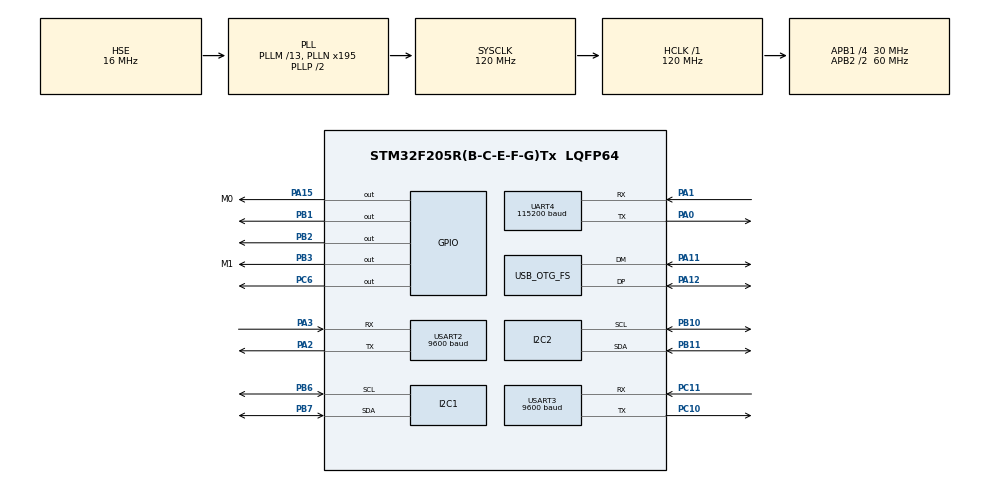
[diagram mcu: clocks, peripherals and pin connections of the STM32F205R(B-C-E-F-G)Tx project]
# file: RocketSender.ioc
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Dma.Request0=UART4_RX
Dma.UART4_RX.0.Direction=DMA_PERIPH_TO_MEMORY
Dma.UART4_RX.0.FIFOMode=DMA_FIFOMODE_DISABLE
Dma.UART4_RX.0.Instance=DMA1_Stream2
Dma.UART4_RX.0.MemDataAlignment=DMA_MDATAALIGN_BYTE
Dma.UART4_RX.0.MemInc=DMA_MINC_ENABLE
Dma.UART4_RX.0.Mode=DMA_NORMAL
Dma.UART4_RX.0.PeriphDataAlignment=DMA_PDATAALIGN_BYTE
Dma.UART4_RX.0.PeriphInc=DMA_PINC_DISABLE
Dma.UART4_RX.0.Priority=DMA_PRIORITY_HIGH
FREERTOS.Tasks01=defaultTask,24,128,StartDefaultTask,Default,NULL,Dynamic,NULL,NULL
FREERTOS.configUSE_NEWLIB_REENTRANT=1
I2C1.I2C_Mode=I2C_Fast
Mcu.Family=STM32F2
Mcu.Name=STM32F205R(B-C-E-F-G)Tx
Mcu.Package=LQFP64
NVIC.DMA1_Stream2_IRQn=true\:5\:0\:false\:false\:true\:true\:false\:true\:true
NVIC.OTG_FS_IRQn=true\:5\:0\:false\:false\:true\:true\:false\:true\:true
NVIC.PriorityGroup=NVIC_PRIORITYGROUP_4
NVIC.TIM7_IRQn=true\:15\:0\:false\:false\:true\:false\:false\:true\:true
NVIC.TimeBase=TIM7_IRQn
NVIC.TimeBaseIP=TIM7
NVIC.UART4_IRQn=true\:5\:0\:false\:false\:true\:true\:true\:true\:true
NVIC.USART2_IRQn=true\:5\:0\:true\:false\:true\:true\:true\:true\:true
PA0-WKUP.Mode=Asynchronous
PA0-WKUP.Signal=UART4_TX
PA1.Mode=Asynchronous
PA1.Signal=UART4_RX
PA11.Mode=Device_Only
PA11.Signal=USB_OTG_FS_DM
PA12.Mode=Device_Only
PA12.Signal=USB_OTG_FS_DP
PA13.Mode=Serial_Wire
PA13.Signal=SYS_JTMS-SWDIO
PA14.Mode=Serial_Wire
PA14.Signal=SYS_JTCK-SWCLK
PA15.GPIO_Label=M0
PA15.Signal=GPIO_Output
PA2.Mode=Asynchronous
PA2.Signal=USART2_TX
PA3.Mode=Asynchronous
PA3.Signal=USART2_RX
PB1.Signal=GPIO_Output
PB10.Mode=I2C
PB10.Signal=I2C2_SCL
PB11.Mode=I2C
PB11.Signal=I2C2_SDA
PB2.Signal=GPIO_Output
PB3.GPIO_Label=M1
PB3.Signal=GPIO_Output
PB6.Mode=I2C
PB6.Signal=I2C1_SCL
PB7.Mode=I2C
PB7.Signal=I2C1_SDA
PC10.Mode=Asynchronous
PC10.Signal=USART3_TX
PC11.Mode=Asynchronous
PC11.Signal=USART3_RX
PC6.Signal=GPIO_Output
PH0-OSC_IN.Mode=HSE-External-Oscillator
PH0-OSC_IN.Signal=RCC_OSC_IN
PH1-OSC_OUT.Mode=HSE-External-Oscillator
PH1-OSC_OUT.Signal=RCC_OSC_OUT
ProjectManager.HeapSize=0x200
ProjectManager.StackSize=0x400
ProjectManager.TargetToolchain=STM32CubeIDE
RCC.48MHZClocksFreq_Value=48000000
RCC.AHBFreq_Value=120000000
RCC.APB1CLKDivider=RCC_HCLK_DIV4
RCC.APB1Freq_Value=30000000
RCC.APB1TimFreq_Value=60000000
RCC.APB2CLKDivider=RCC_HCLK_DIV2
RCC.APB2Freq_Value=60000000
RCC.APB2TimFreq_Value=120000000
RCC.CortexFreq_Value=120000000
RCC.HCLKFreq_Value=120000000
RCC.HSE_VALUE=16000000
RCC.HSI_VALUE=16000000
RCC.LSE_VALUE=32768
RCC.PLLM=13
RCC.PLLN=195
RCC.PLLQ=5
RCC.PLLSourceVirtual=RCC_PLLSOURCE_HSE
RCC.SYSCLKFreq_VALUE=120000000
RCC.SYSCLKSource=RCC_SYSCLKSOURCE_PLLCLK
RCC.VCOOutputFreq_Value=240000000
TIM2.Prescaler=59
UART4.BaudRate=115200
UART4.VirtualMode=Asynchronous
USART2.BaudRate=9600
USART2.VirtualMode=VM_ASYNC
USART3.BaudRate=9600
USART3.VirtualMode=VM_ASYNC
USB_DEVICE.CLASS_NAME_FS=CDC
USB_DEVICE.VirtualMode-CDC_FS=Cdc
USB_DEVICE.VirtualModeFS=Cdc_FS
USB_OTG_FS.VirtualMode=Device_Only
VP_FREERTOS_VS_CMSIS_V2.Mode=CMSIS_V2
VP_SYS_VS_tim7.Mode=TIM7
VP_TIM2_VS_ClockSourceINT.Mode=Internal
VP_USB_DEVICE_VS_USB_DEVICE_CDC_FS.Mode=CDC_FS
board=custom

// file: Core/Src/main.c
/* USER CODE BEGIN Header */
/**

@file           : main.c

@brief          : Main program body

@attention

Copyright (c) 2025 STMicroelectronics.

All rights reserved.

This software is licensed under terms that can be found in the LICENSE file

in the root directory of this software component.

If no LICENSE file comes with this software, it is provided AS-IS.

*/
/* USER CODE END Header */
#include "main.h"
#include "cmsis_os.h"
#include "usb_device.h"

/* USER CODE BEGIN Includes */

#include "usbd_cdc_if.h"
#include "pressure/pressure.h"
#include "gps/gps.h"
#include "icm/imu.h"
#include "math.h"
#include "stdbool.h"
#include "FreeRTOS.h"
#include "cmsis_os.h"
#include "task.h"
#include "semphr.h"

/* USER CODE END Includes */

/* USER CODE BEGIN PTD */
// Sensor data variables
/* USER CODE END PTD */

I2C_HandleTypeDef hi2c1;
I2C_HandleTypeDef hi2c2;

TIM_HandleTypeDef htim2;

UART_HandleTypeDef huart4;
UART_HandleTypeDef huart2;
UART_HandleTypeDef huart3;
DMA_HandleTypeDef hdma_uart4_rx;

/* Definitions for defaultTask */
/*osThreadId_t defaultTaskHandle;
const osThreadAttr_t defaultTask_attributes = {
  .name = "defaultTask",
  .stack_size = 128 * 4,
  .priority = (osPriority_t) osPriorityNormal,
};*/
/* USER CODE BEGIN PV */

#define TELEMETRY_PACKET_SIZE       48 // Toplam 41 bayt oldu
#define TELEMETRY_PAYLOAD_LENGTH    46 // Checksum hariç, header ve tüm veriler (0'dan 37. indekse kadar)
#define SENSOR_TASK_PERIOD_MS_80HZ 12
#define SENSOR_TASK_PERIOD_MS_10HZ 100
#define TELEMETRY_INTERVAL_MS 500

#define FIFO_SIZE 10          // Pencere boyutu, kaç ölçüm saklanacağı

/* USER CODE END PV */

void SystemClock_Config(void);
static void MX_GPIO_Init(void);
static void MX_DMA_Init(void);
static void MX_I2C1_Init(void);
static void MX_I2C2_Init(void);
static void MX_USART2_UART_Init(void);
static void MX_TIM2_Init(void);
static void MX_USART3_UART_Init(void);
static void MX_UART4_Init(void);
void StartDefaultTask(void *argument);

/* USER CODE BEGIN PFP */
void ProcessReceivedPacket(uint8_t* data, uint8_t length, uint8_t packet_type);
typedef struct {
    uint8_t bytes[4];
} FloatBytes_t;

uint8_t gps_rx_data;
char gps_buffer[512];
uint16_t gps_index = 0;
struct GpsData gps_data;
uint16_t received_data_len;

uint8_t huart4_rx_dma_buffer[UART_RX_DMA_BUFFER_SIZE];

typedef struct {
  float altitude;
  unsigned long timestamp_ms;
} DataPoint;
const float gravity = 9.80665;

TaskHandle_t sensorTaskHandle;
TaskHandle_t loraTaskHandle;
SemaphoreHandle_t sensorSemaphore;
SemaphoreHandle_t sutDataReadySemaphore;

// FreeRTOS nesnelerinin handle'larını bir arada tutan yapı (sadece organizasyon için).

volatile FlightData_t g_flightData = {
		.flight_state = ON_GROUND,
		.stateData_h = 0,
		.stateData_l = 0,
		.vertical_velocity = 0.0f,
		.isDelayed = false,
};

// 2. SİSTEM KONTROL FLAG'LERİ
SystemControl_t g_systemControl = {
		.ukb_mode = NORMAL,
};

/* USER CODE END PTD */
/* Private define ------------------------------------------------------------*/
/* USER CODE BEGIN PD */
/* USER CODE END PFP */

/* USER CODE BEGIN 0 */

void addToFifo(float new_altitude, DataPoint altitude_fifo[], int *buffer_index, bool *is_buffer_full) {
  // Yeni veri noktasını oluştur
  altitude_fifo[*buffer_index].altitude = new_altitude;
  altitude_fifo[*buffer_index].timestamp_ms = HAL_GetTick(); // STM32'de geçen zamanı al

  // İndeksi bir sonraki pozisyona taşı
  (*buffer_index)++;

  // Buffer doldu mu kontrol et ve indeksi sıfırla
  if ((*buffer_index) >= FIFO_SIZE) {
    (*buffer_index) = 0;
    *is_buffer_full = true; // Buffer ilk kez doldu, artık hesaplama yapabiliriz.
  }
}

float calculate_velocity_from_fifo(DataPoint altitude_fifo[]) {
  // Hesaplamalar için değişkenler
  double sum_x = 0, sum_y = 0, sum_xy = 0, sum_x2 = 0;

  // Referans noktası olarak ilk zaman damgasını alalım ki sayılar çok büyümesin
  double t0 = altitude_fifo[0].timestamp_ms / 1000.0; // Saniye cinsinden

  for (int i = 0; i < FIFO_SIZE; ++i) {
    double x = (altitude_fifo[i].timestamp_ms / 1000.0) - t0; // Geçen saniye
    double y = altitude_fifo[i].altitude;

    sum_x += x;
    sum_y += y;
    sum_xy += x * y;
    sum_x2 += x * x;
  }

  // Eğim (hız) formülünü uygula
  double N = FIFO_SIZE;
  double numerator = (N * sum_xy) - (sum_x * sum_y);
  double denominator = (N * sum_x2) - (sum_x * sum_x);

  // Sıfıra bölünmeyi engelle
  if (denominator == 0) {
    return 0.0f;
  }

  return (float)(numerator / denominator); // m/s cinsinden hız
}

void send_usb_message(const char* message) {
if (message != NULL) {
CDC_Transmit_FS((uint8_t*)message, strlen(message));
}}

uint8_t calculate_checksum_8bit(const uint8_t *data_buffer, uint16_t length) {
    uint8_t checksum = 0;

    for (uint16_t i = 0; i < length; i++) {
        checksum += data_buffer[i];
    }

    return checksum;
}

FloatBytes_t convert_float_to_big_endian_bytes_return(float float_value) {
    union {
        float f;
        uint8_t b[4];
    } u;

    FloatBytes_t result;

    u.f = float_value;
    result.bytes[0] = u.b[3];
    result.bytes[1] = u.b[2];
    result.bytes[2] = u.b[1];
    result.bytes[3] = u.b[0];

    return result;
}
void convert_int16_to_big_endian_bytes(int16_t value, uint8_t *output_buffer) {
    if (output_buffer == NULL) {
        return;
    }

    output_buffer[0] = (uint8_t)(value >> 8);

    output_buffer[1] = (uint8_t)(value & 0xFF);
}

void convert_int32_to_big_endian_bytes(int32_t value, uint8_t *output_buffer) {
    // MSB
    output_buffer[0] = (uint8_t)((value >> 24) & 0xFF);
    output_buffer[1] = (uint8_t)((value >> 16) & 0xFF);
    output_buffer[2] = (uint8_t)((value >> 8) & 0xFF);
    // LSB
    output_buffer[3] = (uint8_t)(value & 0xFF);
}
void create_telemetry_packet_no_id(
    uint8_t *packet_buffer,
    float accel_x_g, float accel_y_g, float accel_z_g,float gyro_x, float gyro_y, float gyro_z,
    float quat_w, float quat_x, float quat_y, float quat_z,
    double gps_latitude_deg, double gps_longitude_deg, float gps_altitude_m,
	float altitude,
    int16_t surface_angle,
    uint8_t status_value
) {
    if (packet_buffer == NULL) {
        return; // Geçersiz tampon
    }

    uint16_t current_index = 0;
    FloatBytes_t float_bytes; // Float dönüşümü için geçici yapı
    uint8_t scaled_bytes[4]; // int16 veya int32 için geçici dizi

    // 0. Başlangıç Baytı (Header)
    packet_buffer[current_index++] = 0xAA;

    // 1. İvme X, Y, Z (G cinsinden, int16_t olarak skalalı)
    convert_int16_to_big_endian_bytes((int16_t)(accel_x_g * 100.0f), scaled_bytes);
    memcpy(&packet_buffer[current_index], scaled_bytes, 2);
    current_index += 2;

    convert_int16_to_big_endian_bytes((int16_t)(accel_y_g * 100.0f), scaled_bytes);
    memcpy(&packet_buffer[current_index], scaled_bytes, 2);
    current_index += 2;

    convert_int16_to_big_endian_bytes((int16_t)(accel_z_g * 100.0f), scaled_bytes);
    memcpy(&packet_buffer[current_index], scaled_bytes, 2);
    current_index += 2;

    convert_int16_to_big_endian_bytes((int16_t)(gyro_x * 100.0f), scaled_bytes);
    memcpy(&packet_buffer[current_index], scaled_bytes, 2);
    current_index += 2;

    convert_int16_to_big_endian_bytes((int16_t)(gyro_y * 100.0f), scaled_bytes);
    memcpy(&packet_buffer[current_index], scaled_bytes, 2);
    current_index += 2;

    convert_int16_to_big_endian_bytes((int16_t)(gyro_z * 100.0f), scaled_bytes);
    memcpy(&packet_buffer[current_index], scaled_bytes, 2);
    current_index += 2;

    // 2. Quaternion W, X, Y, Z (float olarak kalır)
    float_bytes = convert_float_to_big_endian_bytes_return(quat_w);
    memcpy(&packet_buffer[current_index], float_bytes.bytes, 4);
    current_index += 4;

    float_bytes = convert_float_to_big_endian_bytes_return(quat_x);
    memcpy(&packet_buffer[current_index], float_bytes.bytes, 4);
    current_index += 4;

    float_bytes = convert_float_to_big_endian_bytes_return(quat_y);
    memcpy(&packet_buffer[current_index], float_bytes.bytes, 4);
    current_index += 4;

    float_bytes = convert_float_to_big_endian_bytes_return(quat_z);
    memcpy(&packet_buffer[current_index], float_bytes.bytes, 4);
    current_index += 4;

    // 3. GPS Enlem (int32_t olarak skalalı)
    convert_int32_to_big_endian_bytes((int32_t)(gps_latitude_deg * 1000000.0), scaled_bytes);
    memcpy(&packet_buffer[current_index], scaled_bytes, 4);
    current_index += 4;

    // 4. GPS Boylam (int32_t olarak skalalı)
    convert_int32_to_big_endian_bytes((int32_t)(gps_longitude_deg * 1000000.0), scaled_bytes);
    memcpy(&packet_buffer[current_index], scaled_bytes, 4);
    current_index += 4;

    // 5. GPS Yükseklik (int32_t olarak skalalı, 0.01m hassasiyet)
    convert_int32_to_big_endian_bytes((int32_t)(gps_altitude_m * 100.0f), scaled_bytes);
    memcpy(&packet_buffer[current_index], scaled_bytes, 4);
    current_index += 4;

    convert_int16_to_big_endian_bytes(altitude * 100.0f, scaled_bytes);
    memcpy(&packet_buffer[current_index], scaled_bytes, 2);
    current_index += 2;

    // 6. Yüzey Açısı (int16_t)
    convert_int16_to_big_endian_bytes(surface_angle, scaled_bytes);
    memcpy(&packet_buffer[current_index], scaled_bytes, 2);
    current_index += 2;

    // 7. Durum Değeri (uint8_t)
    packet_buffer[current_index++] = status_value;

    // 8. Checksum Hesaplama ve Ekleme
    // Checksum, başlangıç baytından durum değerine kadar olan TÜM veriyi kapsar.
    uint8_t calculated_checksum = calculate_checksum_8bit(packet_buffer, TELEMETRY_PAYLOAD_LENGTH);
    packet_buffer[current_index++] = calculated_checksum;

    // 9. Footer Değerleri
    packet_buffer[current_index++] = 0x0A; // LF (Line Feed)

    // current_index artık 41 olmalı (TELEMETRY_PACKET_SIZE)
}

void set_bit_u8(uint8_t *value_ptr, uint8_t bit_position) {
    if (value_ptr == NULL) {
        return;
    }
    if (bit_position < 8) {
        *value_ptr |= (1 << bit_position);
    }
}

float convert_big_endian_float(uint8_t *data) {
    union {
        float f;
        uint8_t b[4];
    } u;

    u.b[0] = data[3];
    u.b[1] = data[2];
    u.b[2] = data[1];
    u.b[3] = data[0];

    return u.f;
}

void reset_state()
{
    memset((void*)&g_flightData, 0, sizeof(FlightData_t));
    g_flightData.flight_state = ON_GROUND;
    g_flightData.takeoff_time = 0;
    g_flightData.vertical_velocity = 0.0f;
    g_flightData.stateData_h = 0;
    g_flightData.stateData_l = 0;
    median_filter_reset();
    kalman_filter_reset();
    kalman_filter_euler_reset();
}

void sensorTask(void *pvParameters)
{

  TickType_t xLastWakeTime = xTaskGetTickCount();
  TickType_t xFrequency = pdMS_TO_TICKS(SENSOR_TASK_PERIOD_MS_80HZ);

  static enum UKB_MODE previous_mode;
  previous_mode = g_systemControl.ukb_mode; // Başlangıç değerini ata

  static DataPoint altitude_fifo[FIFO_SIZE];

  static int apogee_confirmation_counter = 0;
  uint8_t local_dma_buffer[UART_RX_DMA_BUFFER_SIZE];
  static uint8_t statePacket[6];
  static uint8_t sit_data[36] = {0xAB};
  static float priv_alt = 0;
  static float priv_press = 0;
  static float min_pressure_pa = 200000.0f;
  static int cooldown = 9000;
  static int sut_conf = 0;

  for (;;)
  {

	  vTaskDelayUntil(&xLastWakeTime, xFrequency);

	  // Frekansı ayarla
	  if (g_systemControl.ukb_mode == SIT || g_systemControl.ukb_mode == SUT) {
		  xFrequency = pdMS_TO_TICKS(SENSOR_TASK_PERIOD_MS_10HZ);
	  } else if (g_systemControl.ukb_mode == NORMAL ){ // NORMAL mod
		  xFrequency = pdMS_TO_TICKS(SENSOR_TASK_PERIOD_MS_80HZ);
	  }

    FlightData_t local_data;
	taskENTER_CRITICAL();
	local_data = g_flightData;
    memcpy(local_dma_buffer, huart4_rx_dma_buffer, UART_RX_DMA_BUFFER_SIZE);
	taskEXIT_CRITICAL();

	if (g_systemControl.i2c_ok) {
       if(g_systemControl.ukb_mode != SUT){
    	   ICM42670P_ReadAccelGyroData(&local_data.imu_data);
    	   imu_get_sensor_data(&local_data.imu_data);

       }
       if(g_systemControl.ukb_mode == SUT && received_data_len == 36){
    	   local_data.imu_data.ax = convert_big_endian_float(&local_dma_buffer[17] ) / gravity;
    	   local_data.imu_data.ay = convert_big_endian_float(&local_dma_buffer[13]) / gravity;
    	   local_data.imu_data.az = convert_big_endian_float(&local_dma_buffer[9]) / gravity;
    	   apply_filter_euler(convert_big_endian_float(&local_dma_buffer[25]), convert_big_endian_float(&local_dma_buffer[21]), convert_big_endian_float(&local_dma_buffer[29]), &local_data.imu_data);
       }
	}
    if(g_systemControl.ukb_mode != SUT){
    	bmp390_get_sensor_data(&local_data.pressure_data);
    	bmp390_process_data(&local_data.pressure_data);

    }
    if(g_systemControl.ukb_mode == SUT && received_data_len == 36){
    	local_data.pressure_data.altitude = convert_big_endian_float(&local_dma_buffer[1]);
    }

	if(local_data.flight_state == ON_GROUND){
		if(g_systemControl.ukb_mode == SUT){
			if(local_data.imu_data.ax > 4){
				set_bit_u8(&local_data.stateData_l, 0);
				local_data.flight_state = PROTECTED_FLIGHT;
				local_data.takeoff_time = HAL_GetTick();
			}
		}else{
			if(local_data.pressure_data.pressure < local_data.pressure_data.press_calb - 200.0f){
				local_data.flight_state = PROTECTED_FLIGHT;
				local_data.takeoff_time = HAL_GetTick();
			}
		}
	}

	if(g_systemControl.ukb_mode == NORMAL){
		cooldown = 9000;
	}else{
		cooldown = 4000;
	}
	if(local_data.flight_state == PROTECTED_FLIGHT && HAL_GetTick() - local_data.takeoff_time > cooldown){
		set_bit_u8(&local_data.stateData_l, 1);
		if(g_systemControl.ukb_mode == NORMAL){
			local_data.flight_state = FREE_FLIGHT;
		}else{
			local_data.flight_state = ALTITUDE_PROTECTED_FLIGHT;
		}
	}

	if(local_data.flight_state == ALTITUDE_PROTECTED_FLIGHT && local_data.pressure_data.altitude > 950){
		set_bit_u8(&local_data.stateData_l, 2);//TEST DEVICE FLAGS

		local_data.flight_state = FREE_FLIGHT;
	}

	if(local_data.flight_state == FREE_FLIGHT){
		if(g_systemControl.ukb_mode == SUT){
			if(local_data.imu_data.angle_ground_normal_pr > 30){
				set_bit_u8(&local_data.stateData_l, 3);
				local_data.flight_state = APOGEE;
			}
		}else{
			local_data.flight_state = APOGEE;
		}
	}

	if(local_data.flight_state == APOGEE  && local_data.flight_state != TRIGGER){
	    local_data.vertical_velocity = calculate_velocity_from_fifo(altitude_fifo);
	    if(g_systemControl.ukb_mode == SUT){
	    	if(local_data.pressure_data.altitude < (priv_alt - 2)){
	    		sut_conf++;
	    	}else{
	    		sut_conf = 0;
	    	}

	    	if(sut_conf > 3){
	    		set_bit_u8(&local_data.stateData_l, 4);//TEST DEVICE FLAGS
				set_bit_u8(&local_data.stateData_l, 7);//TEST DEVICE FLAGS
				HAL_GPIO_TogglePin(LED_34BYTE_GPIO_Port, LED_34BYTE_Pin);
				HAL_GPIO_WritePin(GPIOC, GPIO_PIN_6, GPIO_PIN_SET);
				local_data.flight_state = TRIGGER;
	    	}

	    	priv_alt = local_data.pressure_data.altitude;
	    }else{
	    	if (local_data.pressure_data.pressure < min_pressure_pa) {
	    	    min_pressure_pa = local_data.pressure_data.pressure;
	    	    apogee_confirmation_counter = 0;
	    	}

	    	if(local_data.pressure_data.pressure > min_pressure_pa + 60.0f){
				apogee_confirmation_counter++;
			}else{
				apogee_confirmation_counter = 0;
			}

			if (apogee_confirmation_counter >= 40) {
				set_bit_u8(&local_data.stateData_l, 4);//TEST DEVICE FLAGS
				set_bit_u8(&local_data.stateData_l, 7);//TEST DEVICE FLAGS
				HAL_GPIO_TogglePin(LED_34BYTE_GPIO_Port, LED_34BYTE_Pin);
				HAL_GPIO_WritePin(GPIOC, GPIO_PIN_6, GPIO_PIN_SET);
				local_data.flight_state = TRIGGER;
			}
	    }

	}

	if(g_systemControl.ukb_mode == SUT){
		statePacket[0] = 0xAA;
		statePacket[1] = local_data.stateData_l;
		statePacket[2] = local_data.stateData_h;
		statePacket[3] = calculate_checksum_8bit(statePacket, 3);
		statePacket[4] = 0x0D;
		statePacket[5] = 0x0A;
		HAL_UART_Transmit(&huart4, statePacket, sizeof(statePacket), HAL_MAX_DELAY);

	}

	if(local_data.isDelayed){
	    vTaskDelay(pdMS_TO_TICKS(1000));
	    local_data.isDelayed = false;
	}
	if(g_systemControl.ukb_mode == SIT){
		memcpy(&sit_data[1], (convert_float_to_big_endian_bytes_return(local_data.pressure_data.altitude_sea).bytes) , 4);
		memcpy(&sit_data[5], (convert_float_to_big_endian_bytes_return(local_data.pressure_data.pressure / 100).bytes) , 4);
		memcpy(&sit_data[9],  (convert_float_to_big_endian_bytes_return(local_data.imu_data.ax * gravity).bytes) , 4);
		memcpy(&sit_data[13],  (convert_float_to_big_endian_bytes_return(local_data.imu_data.ay * gravity).bytes) , 4);
		memcpy(&sit_data[17],  (convert_float_to_big_endian_bytes_return(local_data.imu_data.az * gravity).bytes) , 4);
		memcpy(&sit_data[21],  (convert_float_to_big_endian_bytes_return(local_data.imu_data.pitch_filtered).bytes) , 4);
		memcpy(&sit_data[25],  (convert_float_to_big_endian_bytes_return(local_data.imu_data.roll_filtered).bytes) , 4);
		memcpy(&sit_data[29],  (convert_float_to_big_endian_bytes_return(local_data.imu_data.yaw_filtered).bytes) , 4);
		sit_data[33] = calculate_checksum_8bit(sit_data, 33);
		sit_data[34] = 0x0D;
		sit_data[35] = 0x0A;

		HAL_UART_Transmit(&huart4, sit_data, sizeof(sit_data), 100);
	}
	taskENTER_CRITICAL();
	g_flightData = local_data;
	taskEXIT_CRITICAL();

  }
}

void loraTask(void *pvParameters)
{

    static uint8_t LoraBuffer[TELEMETRY_PACKET_SIZE];

    TickType_t xLastWakeTime = xTaskGetTickCount();
    const TickType_t xFrequency = pdMS_TO_TICKS(TELEMETRY_INTERVAL_MS); // 500ms

    for (;;)
    {
        vTaskDelayUntil(&xLastWakeTime, xFrequency);

        FlightData_t data_to_send;

        taskENTER_CRITICAL();
        data_to_send = g_flightData;
        taskEXIT_CRITICAL();

        if (g_systemControl.ukb_mode == NORMAL)
        {

            create_telemetry_packet_no_id(
                LoraBuffer,
                data_to_send.imu_data.ax,
                data_to_send.imu_data.ay,
                data_to_send.imu_data.az,
                data_to_send.imu_data.gx,
                data_to_send.imu_data.gy,
                data_to_send.imu_data.gz,
                data_to_send.imu_data.q_filtered.w,
                data_to_send.imu_data.q_filtered.x,
                data_to_send.imu_data.q_filtered.y,
                data_to_send.imu_data.q_filtered.z,
                data_to_send.gps_data.latitude,
                data_to_send.gps_data.longitude,
                data_to_send.gps_data.altitude, // GPS irtifası yerine hız hesabını kullandık
                data_to_send.pressure_data.altitude_sea,
                data_to_send.imu_data.angle_ground_normal_q,//angle_ground_normal_q
                data_to_send.flight_state
            );

            HAL_UART_Transmit(&huart3, LoraBuffer, sizeof(LoraBuffer), 100);

            HAL_GPIO_TogglePin(LED_34BYTE_GPIO_Port, LED_34BYTE_Pin);
        }
    }
}

void HAL_UART_RxCpltCallback(UART_HandleTypeDef *huart)
{

  if (huart->Instance == USART2)
  {
    if (gps_rx_data == '\n')
    {
      gps_buffer[gps_index++] = gps_rx_data;
      gps_buffer[gps_index] = '\0';
      parse_gpgga(gps_buffer, &gps_data);
      g_flightData.gps_data = gps_data;
      gps_index = 0;
    }
    else
    {
      if (gps_index < sizeof(gps_buffer) - 1)
      {
        gps_buffer[gps_index++] = gps_rx_data;
      }
    }

    HAL_UART_Receive_IT(&huart2, &gps_rx_data, 1);
  }

}

/* USER CODE END 0 */

int main(void)
{

  /* MCU Configuration--------------------------------------------------------*/

  /* Reset of all peripherals, Initializes the Flash interface and the Systick. */
  HAL_Init();

  /* Configure the system clock */
  SystemClock_Config();

  /* Initialize all configured peripherals */
  MX_GPIO_Init();
  MX_DMA_Init();
  MX_I2C1_Init();
  MX_I2C2_Init();
  MX_USART2_UART_Init();
  MX_TIM2_Init();
  MX_USART3_UART_Init();
  MX_UART4_Init();
  /* USER CODE BEGIN 2 */
  MX_USB_DEVICE_Init();
  HAL_UART_Receive_IT(&huart2, &gps_rx_data, 1);
  __HAL_UART_ENABLE_IT(&huart4, UART_IT_IDLE);
  HAL_UART_Receive_DMA(&huart4, huart4_rx_dma_buffer, UART_RX_DMA_BUFFER_SIZE);

  HAL_TIM_Base_Start(&htim2);

  HAL_Delay(1000);
  bmp390_sensor_init();
  HAL_Delay(100);
  bmp390_calibrate(&g_flightData.pressure_data);

  median_filter_reset();
  kalman_filter_reset();
  kalman_filter_euler_reset();

  g_systemControl.i2c_ok = ICM42670P_Init();
  if (g_systemControl.i2c_ok) {
	calibrate_gyro_offsets((ImuData *)&g_flightData.imu_data);
	set_initial_orientation((ImuData *)&g_flightData.imu_data);
	previous_tick = HAL_GetTick();
	send_usb_message("Normal olcum basliyor...\r\n");
  } else {
	send_usb_message("ICM Init Failed! Halting.\r\n");
  }

  /* USER CODE END 2 */

  /* Init scheduler */
  osKernelInitialize();

  /* USER CODE BEGIN RTOS_SEMAPHORES */
  /* add semaphores, ... */
  sutDataReadySemaphore = xSemaphoreCreateBinary();
  /* USER CODE END RTOS_SEMAPHORES */

  /* Create the thread(s) */
  /* creation of defaultTask */
  //defaultTaskHandle = osThreadNew(StartDefaultTask, NULL, &defaultTask_attributes);

  /* USER CODE BEGIN RTOS_THREADS */
  /* add threads, ... */
  #define SENSOR_TASK_STACK_SIZE 1024
  #define LORA_TASK_STACK_SIZE   512

  BaseType_t sensorStatus = xTaskCreate(sensorTask, "SensorTask", SENSOR_TASK_STACK_SIZE, NULL, 3, &sensorTaskHandle);
  BaseType_t loraStatus = xTaskCreate(loraTask, "LoraTask", LORA_TASK_STACK_SIZE, NULL, 2, &loraTaskHandle);

  vTaskStartScheduler();

  /* USER CODE END RTOS_THREADS */

  /* Start scheduler */
  //osKernelStart();

  /* We should never get here as control is now taken by the scheduler */

  /* Infinite loop */
  while (1)
  {

  }
}

void SystemClock_Config(void)
{
  RCC_OscInitTypeDef RCC_OscInitStruct = {0};
  RCC_ClkInitTypeDef RCC_ClkInitStruct = {0};

  /** Initializes the RCC Oscillators according to the specified parameters
  * in the RCC_OscInitTypeDef structure.
  */
  RCC_OscInitStruct.OscillatorType = RCC_OSCILLATORTYPE_HSE;
  RCC_OscInitStruct.HSEState = RCC_HSE_ON;
  RCC_OscInitStruct.PLL.PLLState = RCC_PLL_ON;
  RCC_OscInitStruct.PLL.PLLSource = RCC_PLLSOURCE_HSE;
  RCC_OscInitStruct.PLL.PLLM = 13;
  RCC_OscInitStruct.PLL.PLLN = 195;
  RCC_OscInitStruct.PLL.PLLP = RCC_PLLP_DIV2;
  RCC_OscInitStruct.PLL.PLLQ = 5;
  if (HAL_RCC_OscConfig(&RCC_OscInitStruct) != HAL_OK)
  {
    Error_Handler();
  }

  /** Initializes the CPU, AHB and APB buses clocks
  */
  RCC_ClkInitStruct.ClockType = RCC_CLOCKTYPE_HCLK|RCC_CLOCKTYPE_SYSCLK
                              |RCC_CLOCKTYPE_PCLK1|RCC_CLOCKTYPE_PCLK2;
  RCC_ClkInitStruct.SYSCLKSource = RCC_SYSCLKSOURCE_PLLCLK;
  RCC_ClkInitStruct.AHBCLKDivider = RCC_SYSCLK_DIV1;
  RCC_ClkInitStruct.APB1CLKDivider = RCC_HCLK_DIV4;
  RCC_ClkInitStruct.APB2CLKDivider = RCC_HCLK_DIV2;

  if (HAL_RCC_ClockConfig(&RCC_ClkInitStruct, FLASH_LATENCY_3) != HAL_OK)
  {
    Error_Handler();
  }
}

static void MX_I2C1_Init(void)
{

  hi2c1.Instance = I2C1;
  hi2c1.Init.ClockSpeed = 400000;
  hi2c1.Init.DutyCycle = I2C_DUTYCYCLE_2;
  hi2c1.Init.OwnAddress1 = 0;
  hi2c1.Init.AddressingMode = I2C_ADDRESSINGMODE_7BIT;
  hi2c1.Init.DualAddressMode = I2C_DUALADDRESS_DISABLE;
  hi2c1.Init.OwnAddress2 = 0;
  hi2c1.Init.GeneralCallMode = I2C_GENERALCALL_DISABLE;
  hi2c1.Init.NoStretchMode = I2C_NOSTRETCH_DISABLE;
  if (HAL_I2C_Init(&hi2c1) != HAL_OK)
  {
    Error_Handler();
  }

}

static void MX_I2C2_Init(void)
{

  hi2c2.Instance = I2C2;
  hi2c2.Init.ClockSpeed = 100000;
  hi2c2.Init.DutyCycle = I2C_DUTYCYCLE_2;
  hi2c2.Init.OwnAddress1 = 0;
  hi2c2.Init.AddressingMode = I2C_ADDRESSINGMODE_7BIT;
  hi2c2.Init.DualAddressMode = I2C_DUALADDRESS_DISABLE;
  hi2c2.Init.OwnAddress2 = 0;
  hi2c2.Init.GeneralCallMode = I2C_GENERALCALL_DISABLE;
  hi2c2.Init.NoStretchMode = I2C_NOSTRETCH_DISABLE;
  if (HAL_I2C_Init(&hi2c2) != HAL_OK)
  {
    Error_Handler();
  }

}

static void MX_TIM2_Init(void)
{

  TIM_ClockConfigTypeDef sClockSourceConfig = {0};
  TIM_MasterConfigTypeDef sMasterConfig = {0};

  htim2.Instance = TIM2;
  htim2.Init.Prescaler = 59;
  htim2.Init.CounterMode = TIM_COUNTERMODE_UP;
  htim2.Init.Period = 4294967295;
  htim2.Init.ClockDivision = TIM_CLOCKDIVISION_DIV1;
  htim2.Init.AutoReloadPreload = TIM_AUTORELOAD_PRELOAD_DISABLE;
  if (HAL_TIM_Base_Init(&htim2) != HAL_OK)
  {
    Error_Handler();
  }
  sClockSourceConfig.ClockSource = TIM_CLOCKSOURCE_INTERNAL;
  if (HAL_TIM_ConfigClockSource(&htim2, &sClockSourceConfig) != HAL_OK)
  {
    Error_Handler();
  }
  sMasterConfig.MasterOutputTrigger = TIM_TRGO_RESET;
  sMasterConfig.MasterSlaveMode = TIM_MASTERSLAVEMODE_DISABLE;
  if (HAL_TIMEx_MasterConfigSynchronization(&htim2, &sMasterConfig) != HAL_OK)
  {
    Error_Handler();
  }

}

static void MX_UART4_Init(void)
{

  huart4.Instance = UART4;
  huart4.Init.BaudRate = 115200;
  huart4.Init.WordLength = UART_WORDLENGTH_8B;
  huart4.Init.StopBits = UART_STOPBITS_1;
  huart4.Init.Parity = UART_PARITY_NONE;
  huart4.Init.Mode = UART_MODE_TX_RX;
  huart4.Init.HwFlowCtl = UART_HWCONTROL_NONE;
  huart4.Init.OverSampling = UART_OVERSAMPLING_16;
  if (HAL_UART_Init(&huart4) != HAL_OK)
  {
    Error_Handler();
  }

}

static void MX_USART2_UART_Init(void)
{

  huart2.Instance = USART2;
  huart2.Init.BaudRate = 9600;
  huart2.Init.WordLength = UART_WORDLENGTH_8B;
  huart2.Init.StopBits = UART_STOPBITS_1;
  huart2.Init.Parity = UART_PARITY_NONE;
  huart2.Init.Mode = UART_MODE_TX_RX;
  huart2.Init.HwFlowCtl = UART_HWCONTROL_NONE;
  huart2.Init.OverSampling = UART_OVERSAMPLING_16;
  if (HAL_UART_Init(&huart2) != HAL_OK)
  {
    Error_Handler();
  }

}

static void MX_USART3_UART_Init(void)
{

  huart3.Instance = USART3;
  huart3.Init.BaudRate = 9600;
  huart3.Init.WordLength = UART_WORDLENGTH_8B;
  huart3.Init.StopBits = UART_STOPBITS_1;
  huart3.Init.Parity = UART_PARITY_NONE;
  huart3.Init.Mode = UART_MODE_TX_RX;
  huart3.Init.HwFlowCtl = UART_HWCONTROL_NONE;
  huart3.Init.OverSampling = UART_OVERSAMPLING_16;
  if (HAL_UART_Init(&huart3) != HAL_OK)
  {
    Error_Handler();
  }

}

static void MX_DMA_Init(void)
{

  /* DMA controller clock enable */
  __HAL_RCC_DMA1_CLK_ENABLE();

  /* DMA interrupt init */
  /* DMA1_Stream2_IRQn interrupt configuration */
  HAL_NVIC_SetPriority(DMA1_Stream2_IRQn, 5, 0);
  HAL_NVIC_EnableIRQ(DMA1_Stream2_IRQn);

}

static void MX_GPIO_Init(void)
{
  GPIO_InitTypeDef GPIO_InitStruct = {0};

  /* GPIO Ports Clock Enable */
  __HAL_RCC_GPIOH_CLK_ENABLE();
  __HAL_RCC_GPIOA_CLK_ENABLE();
  __HAL_RCC_GPIOB_CLK_ENABLE();
  __HAL_RCC_GPIOC_CLK_ENABLE();

  /*Configure GPIO pin Output Level */
  HAL_GPIO_WritePin(GPIOB, GPIO_PIN_1|GPIO_PIN_2|M1_Pin, GPIO_PIN_RESET);

  /*Configure GPIO pin Output Level */
  HAL_GPIO_WritePin(GPIOC, GPIO_PIN_6, GPIO_PIN_RESET);

  /*Configure GPIO pin Output Level */
  HAL_GPIO_WritePin(M0_GPIO_Port, M0_Pin, GPIO_PIN_RESET);

  /*Configure GPIO pins : PB1 PB2 M1_Pin */
  GPIO_InitStruct.Pin = GPIO_PIN_1|GPIO_PIN_2|M1_Pin;
  GPIO_InitStruct.Mode = GPIO_MODE_OUTPUT_PP;
  GPIO_InitStruct.Pull = GPIO_NOPULL;
  GPIO_InitStruct.Speed = GPIO_SPEED_FREQ_LOW;
  HAL_GPIO_Init(GPIOB, &GPIO_InitStruct);

  /*Configure GPIO pin : PC6 */
  GPIO_InitStruct.Pin = GPIO_PIN_6;
  GPIO_InitStruct.Mode = GPIO_MODE_OUTPUT_PP;
  GPIO_InitStruct.Pull = GPIO_NOPULL;
  GPIO_InitStruct.Speed = GPIO_SPEED_FREQ_LOW;
  HAL_GPIO_Init(GPIOC, &GPIO_InitStruct);

  /*Configure GPIO pin : M0_Pin */
  GPIO_InitStruct.Pin = M0_Pin;
  GPIO_InitStruct.Mode = GPIO_MODE_OUTPUT_PP;
  GPIO_InitStruct.Pull = GPIO_NOPULL;
  GPIO_InitStruct.Speed = GPIO_SPEED_FREQ_LOW;
  HAL_GPIO_Init(M0_GPIO_Port, &GPIO_InitStruct);

}

/* USER CODE BEGIN 4 */
// Diğer yardımcı fonksiyonlar buraya eklenebilir.
// scan_i2c2_with_led_error gibi debug fonksiyonları geliştirme sırasında faydalıdır.
/* USER CODE END 4 */

//void StartDefaultTask(void *argument)
//{
  /* init code for USB_DEVICE */
//  MX_USB_DEVICE_Init();
  /* USER CODE BEGIN 5 */
  /* Infinite loop */
//  for(;;)
//  {
//    osDelay(1);
//  }
  /* USER CODE END 5 */
//}

void HAL_TIM_PeriodElapsedCallback(TIM_HandleTypeDef *htim)
{
  if (htim->Instance == TIM7)
  {
    HAL_IncTick();
  }
}

void Error_Handler(void)
{
  /* USER CODE BEGIN Error_Handler_Debug */
/* User can add his own implementation to report the HAL error return state */
send_usb_message("HAL Error Occurred! System Halted.\r\n");
__disable_irq();
while (1)
{
// Hata durumunda belirgin bir LED yak/söndür
// blink_led(GPIOB, GPIO_PIN_14, 1, 50); // Kırmızı LED varsa
}
  /* USER CODE END Error_Handler_Debug */
}
#ifdef USE_FULL_ASSERT
/**
  * @brief  Reports the name of the source file and the source line number
  *         where the assert_param error has occurred.
  * @param  file: pointer to the source file name
  * @param  line: assert_param error line source number
  * @retval None
  */
void assert_failed(uint8_t *file, uint32_t line)
{
  /* USER CODE BEGIN 6 */
/* User can add his own implementation to report the file name and line number,
ex: printf("Wrong parameters value: file %s on line %d\r\n", file, line) */
char msg[100];
snprintf(msg, sizeof(msg), "Assert Failed: file %s on line %lu\r\n", file, line);
send_usb_message(msg);
while (1) {
// blink_led(GPIOB, GPIO_PIN_14, 1, 25); // Kırmızı LED varsa hızlı yanıp sönsün
blink_led(GPIOB, D5_Pin, 1, 25); // Veya D5 pinini kullan
}
  /* USER CODE END 6 */
}
#endif /* USE_FULL_ASSERT */
